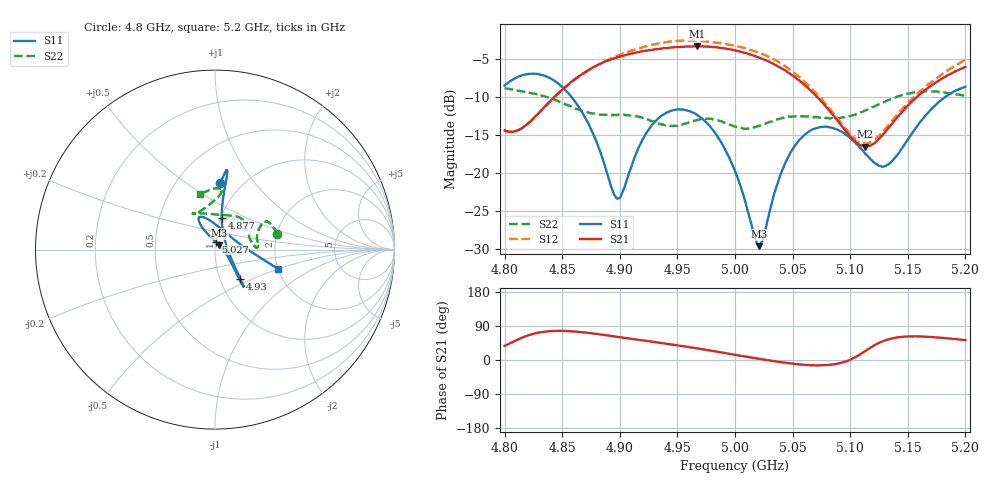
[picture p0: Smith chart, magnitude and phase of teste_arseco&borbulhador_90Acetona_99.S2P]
! Network Analyzer HP8722D
! Hewlett-Packard
! Data name: Linha & Wilkinson
! Saver's name: Rodrigo Anjos
! Comments: Teste da utilização de aquisição
! continua pelo VNA HP8722D
! Time and date: 17/4/2025 11:52
!  Frequency  S11  S21  S12  S22
# HZ  S  MA R 50
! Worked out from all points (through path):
!   401 points, 4.8 GHz to 5.2 GHz, reference 50 ohm
!   highest |S21| = -3.37 dB at 4.967 GHz (marker M1); lowest = -16.6 dB at 5.113 GHz (marker M2)
!   lowest |S11| = -29.6 dB at 5.021 GHz (marker M3), VSWR 1.07, Z = 52.4 + j2.43 ohm
!   |S11| at or under -10 dB: 4.858 GHz to 5.183 GHz (325.1 MHz wide, 6.48 % of centre)
!   |S22| runs from -14.2 to -8.9 dB; largest |S21 - S12| = 0.23
!   S11 on the Smith chart (normalised r, x): 4.8 GHz: 0.79, +0.69; 4.877 GHz: 1.01, +0.37; 4.93 GHz: 1.25, -0.42; 5.027 GHz: 1.00, +0.09; 5.2 GHz: 2.00, -0.49
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4.8e9  0.3745 85.6  0.1899 37.2  0.1897 -2.6  0.358 14.2
4.815e9  0.4357 82.5  0.1968 58.8  0.1956 20.1  0.343 24.0
4.834e9  0.4353 81.0  0.2679 74.5  0.2662 37.7  0.3196 29.0
4.867e9  0.2513 80.7  0.444 73.3  0.4406 43.3  0.2547 22.0
4.877e9  0.1798 77.8  0.4933 69.8  0.4917 42.5  0.2451 17.0
4.894e9  0.07597 43.2  0.5598 62.7  0.5715 40.0  0.241 9.0
4.899e9  0.0681 13.9  0.5759 60.4  0.5915 39.2  0.2409 7.0
4.918e9  0.1552 -42.7  0.6233 52.5  0.6601 35.2  0.2319 3.1
4.93e9  0.2146 -49.2  0.6461 47.5  0.6959 31.7  0.215 7.0
4.934e9  0.2303 -50.5  0.6499 45.6  0.709 30.5  0.21 9.4
4.967e9  0.2404 -51.8  0.6782 30.6  0.7351 17.8  0.2218 42.9
4.984e9  0.1771 -47.9  0.6663 22.3  0.714 11.4  0.2232 54.9
5e9  0.103 -35.5  0.6363 13.6  0.6815 5.5  0.2006 72.1
5.021e9  0.03307 44.6  0.5699 3.2  0.614 -2.5  0.2038 101.0
5.027e9  0.04427 86.0  0.5476 0.0  0.5892 -4.5  0.2119 107.5
5.045e9  0.1215 118.6  0.4624 -7.8  0.4926 -10.9  0.2315 119.0
5.067e9  0.1921 118.5  0.34 -13.9  0.3552 -13.5  0.2327 121.1
5.089e9  0.1923 109.6  0.2201 -9.8  0.2279 -5.5  0.2295 112.4
5.113e9  0.1337 85.3  0.1487 23.4  0.156 30.9  0.2566 95.4
5.134e9  0.115 34.2  0.2003 55.4  0.2091 65.5  0.3017 85.5
5.171e9  0.265 -10.8  0.3777 60.4  0.3965 78.3  0.342 87.7
5.2e9  0.3669 -16.9  0.4947 52.4  0.5519 76.3  0.3223 104.7
